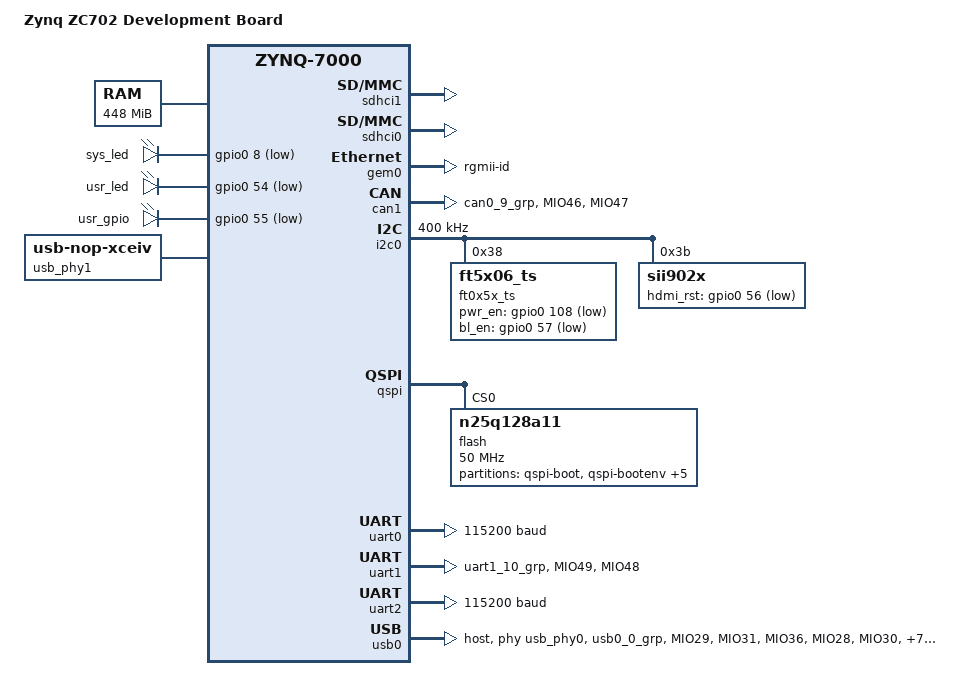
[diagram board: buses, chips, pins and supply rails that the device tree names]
// SPDX-License-Identifier: GPL-2.0+
/*
 *  Copyright (C) 2011 - 2015 Xilinx
 *  Copyright (C) 2012 National Instruments Corp.
 */
/dts-v1/;
#include "zynq-7000.dtsi"
// #include "zturn-pl-tpg.dtsi"
#include "zturn-pl-hdmi_test.dtsi"
// #include "zynq_pl_phy.dtsi"

/ {
	model = "Zynq ZC702 Development Board";
	compatible = "xlnx,zynq-zc702", "xlnx,zynq-7000";

	aliases {
		// ethernet0 = &axi_ethernet_0;
		ethernet0 = &gem0;
		i2c0 = &i2c0;
		serial0 = &uart1;
		serial1 = &uart0;
		spi0 = &qspi;
		mmc0 = &sdhci0;
		// usb0 = &usb0;
	};

	// memory@0 {
	// 	device_type = "memory";
	// 	reg = <0x0 0x40000000>;
	// };

	memory {
		device_type = "memory";
		reg = <0x0 0x1c000000>; // Reserved 256MB for xylonfb driver
	};

	chosen {
		bootargs = "console=ttyPS0,115200 root=/dev/ram cma=25M rw earlyprintk";
		stdout-path = "serial0:115200n8";
	};

	gpio-leds {
		compatible = "gpio-leds";

		sys_led {
			label = "sys_led";
			gpios = <&gpio0 8 1>;
			default-state = "off";
			linux,default-trigger = "none";
		};

		usr_led {
			label = "usr_led";
			gpios = <&gpio0 54 1>;
			default-state = "off";
			linux,default-trigger = "none";
		};

		gpio {
			label = "usr_gpio";
			gpios = <&gpio0 55 1>;
			default-state = "off";
			linux,default-trigger = "none";
		};	
	};

	usb_phy0: phy0@e0002000 {
		compatible = "ulpi-phy";
		#phy-cells = <0>;
		reg = <0xe0002000 0x1000>;
		view-port = <0x0170>;
		drv-vbus;
	};

	usb_phy1: usb_phy@0 {
		compatible = "usb-nop-xceiv";
		#phy-cells = <0x0>;
		reset-gpios = <0x6 0x2e 0x1>;
	};
};

&sdhci1 {
	status = "okay";
};

&sdhci0 {
	status = "okay";
};

&gem0 {
	local-mac-address = [00 0a 35 00 00 00];
	phy-mode = "rgmii-id";
	status = "okay";
	xlnx,ptp-enet-clock = <0x69f6bcb>;
};

&can1 {
	status = "okay";
	pinctrl-names = "default";
	pinctrl-0 = <&pinctrl_can0_default>;
};

&clkc {
	fclk-enable = <0x7>;
	ps-clk-frequency = <33333333>;
};

&gpio0 {
	compatible = "xlnx,zynq-gpio-1.0";
	#gpio-cells = <0x2>;
	clocks = <0x1 0x2a>;
	gpio-controller;
	interrupt-parent = <0x3>;
	interrupts = <0x0 0x14 0x4>;
	reg = <0xe000a000 0x1000>;
	emio-gpio-width = <0x40>;
	gpio-mask-high = <0x0>;
	gpio-mask-low = <0x5600>;
	xlnx,emio-gpio-width = <0x40>;
	xlnx,mio-gpio-mask = <0x5600>;
	linux,phandle = <0x4>;
	phandle = <0x4>;
};

&i2c0 {
	compatible = "cdns,i2c-r1p10";
	status = "okay";
	clocks = <0x1 0x26>;
	interrupt-parent = <0x3>;
	interrupts = <0x0 0x19 0x4>;
	reg = <0xe0004000 0x1000>;
	#address-cells = <0x1>;
	#size-cells = <0x0>;
	clock-frequency = <0x61a80>;
	xlnx,has-interrupt = <0x1>;

	// adxl345@53 {
	// 	compatible = "adi,adxl345";
	// 	reg = <0x53>;
	// 	interrupt-parent = <0x3>;
	// 	interrupts = <0x0 0x1f 0x4>;
	// };

	// stlm75@49 {
	// 	status = "okay";
	// 	compatible = "national,lm75";
	// 	reg = <0x49>;
	// 	interrupts = <0x0 0x20 0x4>;
	// };

	// ov5640: camera@3c {
	// 	compatible = "myir,ov5640";
	// 	reg = <0x3c>;

	// 	reset-gpios = <&gpio0 54 1>;

	// 	status = "okay";

	// 	#address-cells = <1>;
	// 	#size-cells = <0>;

	// 	port@0 {
	// 		reg = <0>;

	// 		xlnx,video-format = <2>;
	// 		xlnx,video-width = <8>;

	// 		ov5640_out: endpoint {
	// 			// remote-endpoint = <&vcap_in>;
	// 		};
	// 	};
	// };

	ft0x5x_ts@38 {
		compatible = "ft5x06_ts";
		reg = <0x38>;
		tp_int = <0x4 106 0x1>;
		tp_resetn = <0x4 56 0x1>;
		pwr_en = <&gpio0 108 1>;
		bl_en = <&gpio0 57 1>;	
		polling_mode = [00];
		multi_touch = [00];
	};

	sii902x@3b {
		compatible = "sii902x";
		reg = <0x3b>;
		hdmi_rst = <&gpio0 56 1>;	
		interrupt-parent = <0x3>;
		interrupts = <0x0 29 0x4>;
		mode_str = "1920x1080";
		bits-per-pixel = <0x10>;
	};

	// ov2659: camera@30 {
	// 	compatible = "myir,ov2659";
	// 	reg = <0x30>;

	// 	reset-gpios = <&gpio0 54 1>;

	// 	status = "disable";

	// 	#address-cells = <1>;
	// 	#size-cells = <0>;

	// 	port@0 {
	// 		reg = <0>;

	// 		xlnx,video-format = <2>;
	// 		xlnx,video-width = <8>;

	// 		ov2659_out: endpoint {
	// 			remote-endpoint = <&vcap_in>;
	// 		};
	// 	};
	// };
};

// &video_cap {
// 	compatible = "xlnx,video";
//  status = "disable";

// 	dmas = <&axi_vdma_1 0>;
// 	dma-names = "port0";

// 	ports {
// 		#address-cells = <1>;
// 		#size-cells = <0>;

// 		port@0 {
// 			reg = <0>;
// 			direction = "input";

// 			vcap_in: endpoint {
// 				remote-endpoint = <&ov5640_out>;
// 			};
// 		};
// 	};
// };

// &i2c1 {
// 	compatible = "cdns,i2c-r1p10";
// 	status = "okay";
// 	clocks = <0x1 0x27>;
// 	interrupt-parent = <0x3>;
// 	interrupts = <0x0 0x30 0x4>;
// 	reg = <0xe0005000 0x1000>;
// 	#address-cells = <0x1>;
// 	#size-cells = <0x0>;
// 	clock-frequency = <0x61a80>;
// 	xlnx,has-interrupt = <0x1>;

// 	ft0x5x_ts@38 {
// 		compatible = "ft5x06_ts";
// 		reg = <0x38>;
// 		tp_int = <0x4 106 0x1>;
// 		tp_resetn = <0x4 107 0x1>;
// 		pwr_en = <&gpio0 108 1>;
// 		bl_en = <&gpio0 109 1>;	
// 		polling_mode = [00];
// 		multi_touch = [00];
// 	};
// };

&pinctrl0 {
	pinctrl_gem0_default: gem0-default {
		mux {
			function = "ethernet0";
			groups = "ethernet0_0_grp";
		};

		conf {
			groups = "ethernet0_0_grp";
			slew-rate = <0>;
			io-standard = <4>;
		};

		conf-rx {
			pins = "MIO22", "MIO23", "MIO24", "MIO25", "MIO26", "MIO27";
			bias-high-impedance;
			low-power-disable;
		};

		conf-tx {
			pins = "MIO16", "MIO17", "MIO18", "MIO19", "MIO20", "MIO21";
			low-power-enable;
			bias-disable;
		};

		mux-mdio {
			function = "mdio0";
			groups = "mdio0_0_grp";
		};

		conf-mdio {
			groups = "mdio0_0_grp";
			slew-rate = <0>;
			io-standard = <1>;
			bias-disable;
		};
	};

	pinctrl_can0_default: can0-default {
		mux {
			function = "can0";
			groups = "can0_9_grp";
		};

		conf {
			groups = "can0_9_grp";
			slew-rate = <0>;
			io-standard = <1>;
		};

		conf-rx {
			pins = "MIO46";
			bias-high-impedance;
		};

		conf-tx {
			pins = "MIO47";
			bias-disable;
		};
	};

	pinctrl_gpio0_default: gpio0-default {
		mux {
			function = "gpio0";
			groups = "gpio0_7_grp", "gpio0_8_grp", "gpio0_9_grp",
				 "gpio0_10_grp", "gpio0_11_grp", "gpio0_12_grp",
				 "gpio0_13_grp", "gpio0_14_grp";
		};

		conf {
			groups = "gpio0_7_grp", "gpio0_8_grp", "gpio0_9_grp",
				 "gpio0_10_grp", "gpio0_11_grp", "gpio0_12_grp",
				 "gpio0_13_grp", "gpio0_14_grp";
			slew-rate = <0>;
			io-standard = <1>;
		};

		conf-pull-up {
			pins = "MIO9", "MIO10", "MIO11", "MIO12", "MIO13", "MIO14";
			bias-pull-up;
		};

		conf-pull-none {
			pins = "MIO7", "MIO8";
			bias-disable;
		};
	};

	pinctrl_i2c0_default: i2c0-default {
		mux {
			groups = "i2c0_10_grp";
			function = "i2c0";
		};

		conf {
			groups = "i2c0_10_grp";
			bias-pull-up;
			slew-rate = <0>;
			io-standard = <1>;
		};
	};

	pinctrl_i2c0_gpio: i2c0-gpio {
		mux {
			groups = "gpio0_50_grp", "gpio0_51_grp";
			function = "gpio0";
		};

		conf {
			groups = "gpio0_50_grp", "gpio0_51_grp";
			slew-rate = <0>;
			io-standard = <1>;
		};
	};

	pinctrl_uart1_default: uart1-default {
		mux {
			groups = "uart1_10_grp";
			function = "uart1";
		};

		conf {
			groups = "uart1_10_grp";
			slew-rate = <0>;
			io-standard = <1>;
		};

		conf-rx {
			pins = "MIO49";
			bias-high-impedance;
		};

		conf-tx {
			pins = "MIO48";
			bias-disable;
		};
	};

	pinctrl_usb0_default: usb0-default {
		mux {
			groups = "usb0_0_grp";
			function = "usb0";
		};

		conf {
			groups = "usb0_0_grp";
			slew-rate = <0>;
			io-standard = <1>;
		};

		conf-rx {
			pins = "MIO29", "MIO31", "MIO36";
			bias-high-impedance;
		};

		conf-tx {
			pins = "MIO28", "MIO30", "MIO32", "MIO33", "MIO34",
			       "MIO35", "MIO37", "MIO38", "MIO39";
			bias-disable;
		};
	};
};

&qspi {
	u-boot,dm-pre-reloc;
	status = "okay";
	is-dual = <0>;
	num-cs = <1>;
	flash@0 {
		compatible = "n25q128a11";
		reg = <0x0>;
		spi-tx-bus-width = <1>;
		spi-rx-bus-width = <4>;
		spi-max-frequency = <50000000>;
		#address-cells = <1>;
		#size-cells = <1>;

		partition@qspi-boot {
			label = "qspi-boot";
			reg = <0x0 0x80000>;
		};

		partition@qspi-bootenv {
			label = "qspi-bootenv";
			reg = <0x80000 0x20000>;
		};

		partition@qspi-bitstream {
			label = "qspi-bitstream";
			reg = <0xa0000 0x460000>;
		};

		partition@qspi-kernel {
			label = "qspi-kernel";
			reg = <0x500000 0x480000>;
		};

		partition@qspi-devicetree {
			label = "qspi-devicetree";
			reg = <0x980000 0x10000>;
		};

		partition@qspi-rootfs {
			label = "qspi-rootfs";
			reg = <0x990000 0x600000>;
		};

		partition@qspi-data {
			label = "data";
			reg = <0xf90000 0x70000>;
		};
	};
};

&uart0 {
	status = "okay";
    current-speed = <115200>;
    port-number = <1>;
    xlnx,has-modem = <0x0>;
};

&uart1 {
	u-boot,dm-pre-reloc;
	status = "okay";
	pinctrl-names = "default";
	pinctrl-0 = <&pinctrl_uart1_default>;
};

&uart2 {
	status = "okay";
	current-speed = <115200>;
	port-number = <2>;
	xlnx,has-modem = <0x0>;
};

&usb0 {
	status = "okay";
	dr_mode = "host";
	usb-phy = <&usb_phy0>;
	pinctrl-names = "default";
	pinctrl-0 = <&pinctrl_usb0_default>;
};

// &sdhci1 {
// 	status = "okay";
// };
